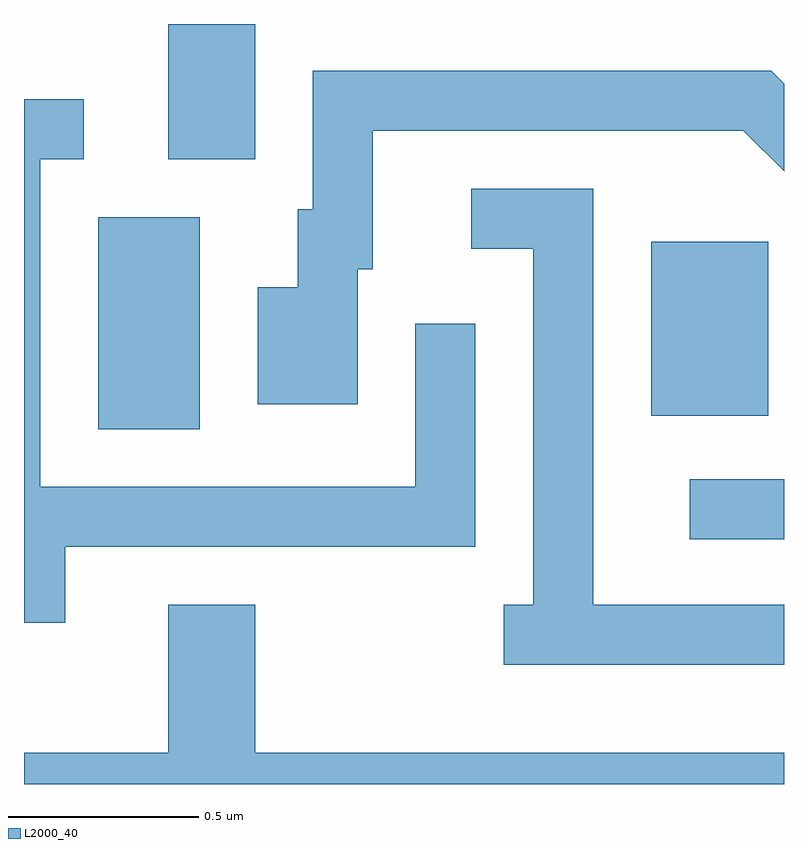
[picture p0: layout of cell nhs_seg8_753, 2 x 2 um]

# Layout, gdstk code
import gdstk
lib = gdstk.Library(unit=1e-6, precision=1e-09)
def R(c, l, rs):  # rectangles x0, y0, x1, y1
    for r in rs: c.add(gdstk.rectangle(r[:2], r[2:], *l))
def P(c, l, *ps):  # polygons
    for p in ps: c.add(gdstk.Polygon(p, *l))
L2000_40 = (2000, 40)

nhs_seg8_753 = lib.new_cell('nhs_seg8_753')
R(nhs_seg8_753, L2000_40, [(192.363,1874.986,192.611,1875.144), (190.806,1875.276,191.074,1875.834), (192.261,1875.311,192.569,1875.769), (190.991,1875.986,191.219,1876.342)])
P(nhs_seg8_753, L2000_40, [(191.489,1875.696),(191.529,1875.696),(191.529,1876.061),(192.504,1876.061),(192.611,1875.954),(192.611,1876.185),(192.577,1876.219),(191.371,1876.219),(191.371,1875.854),(191.331,1875.854),(191.331,1875.649),(191.226,1875.649),(191.226,1875.341),(191.489,1875.341)],
  [(190.719,1874.966),(191.799,1874.966),(191.799,1875.553),(191.641,1875.553),(191.641,1875.124),(190.654,1875.124),(190.654,1875.986),(190.768,1875.986),(190.768,1876.144),(190.611,1876.144),(190.611,1874.766),(190.719,1874.766)],
  [(192.611,1874.814),(192.109,1874.814),(192.109,1875.909),(191.788,1875.909),(191.788,1875.751),(191.951,1875.751),(191.951,1874.814),(191.873,1874.814),(191.873,1874.656),(192.611,1874.656)],
  [(192.611,1874.424),(191.219,1874.424),(191.219,1874.814),(190.991,1874.814),(190.991,1874.424),(190.611,1874.424),(190.611,1874.342),(192.611,1874.342)])

lib.write_gds('nhs_seg8_753.gds')
